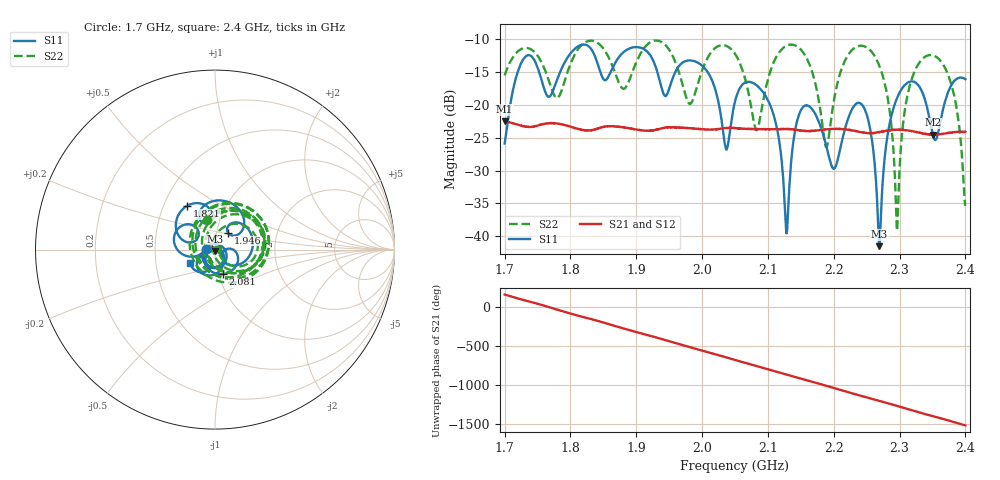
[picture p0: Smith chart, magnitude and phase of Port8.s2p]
# Hz S RI R 50
! CMT, CMT808U, 21440046, 21.4.3/4
! Date: 9/9/2026 12:52:51 AM
! Data: Format (Calibration Info)
! Freq	S11:Re/Im(F2)	S41:Re/Im(F2)	S14:Re/Im(F2)	S44:Re/Im(F2)
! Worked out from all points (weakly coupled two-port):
!   3001 points, 1.7 GHz to 2.4 GHz, reference 50 ohm
!   highest |S21| = -22.49 dB at 1.7 GHz (marker M1); lowest = -24.5 dB at 2.35 GHz (marker M2)
!   lowest |S11| = -41.5 dB at 2.269 GHz (marker M3), VSWR 1.02, Z = 49.8 - j0.811 ohm
!   |S11| at or under -10 dB: start of sweep to end of sweep
!   |S22| runs from -39.2 to -10.2 dB; largest |S21 - S12| = 0.0011
!   S11 on the Smith chart (normalised r, x): 1.7 GHz: 0.90, +0.00; 1.821 GHz: 0.66, +0.35; 1.946 GHz: 1.13, +0.22; 2.081 GHz: 1.05, -0.29; 2.4 GHz: 0.75, -0.11
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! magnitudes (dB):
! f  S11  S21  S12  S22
! 1.7 GHz  -25.9  -22.5  -22.5  -15.5
! 1.73 GHz  -12.8  -23.3  -23.3  -11.3
! 1.78 GHz  -16.2  -22.8  -22.9  -18.9
! 1.817 GHz  -10.8  -23.8  -23.8  -10.9
! 1.821 GHz  -10.8  -23.8  -23.9  -10.5
! 1.934 GHz  -15.5  -23.7  -23.7  -10.2
! 1.946 GHz  -18.5  -23.4  -23.4  -11.0
! 1.981 GHz  -13.2  -23.5  -23.5  -19.9
! 2.036 GHz  -26.7  -23.5  -23.5  -11.0
! 2.05 GHz  -19.5  -23.5  -23.5  -12.2
! 2.081 GHz  -16.9  -23.7  -23.7  -23.6
! 2.128 GHz  -39.5  -23.6  -23.7  -11.0
! 2.167 GHz  -20.6  -24.0  -23.9  -14.8
! 2.189 GHz  -26.4  -23.7  -23.7  -26.4
! 2.245 GHz  -20.2  -24.2  -24.2  -11.0
! 2.269 GHz  -41.5  -24.1  -24.1  -14.0
! 2.284 GHz  -23.6  -23.9  -23.9  -19.9
! 2.296 GHz  -18.9  -23.8  -23.8  -39.0
! 2.314 GHz  -16.5  -23.9  -23.9  -17.6
! 2.35 GHz  -24.4  -24.5  -24.5  -12.4
! 2.382 GHz  -16.4  -24.1  -24.2  -18.3
! 2.4 GHz  -16.1  -24.1  -24.1  -35.4
